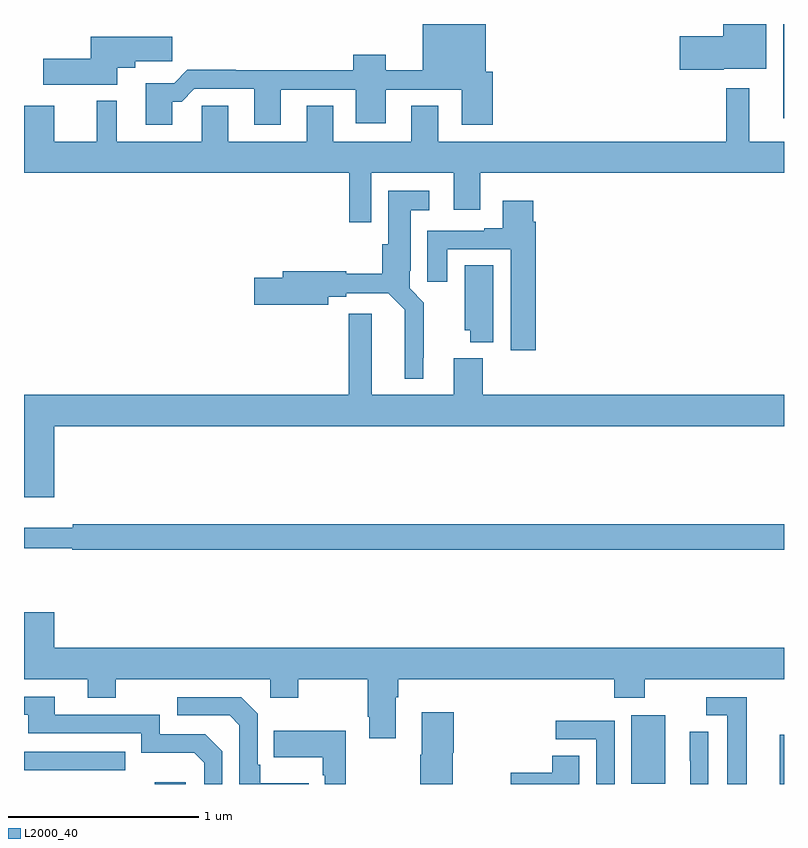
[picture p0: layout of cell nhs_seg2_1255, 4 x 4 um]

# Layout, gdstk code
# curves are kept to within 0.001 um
import gdstk
lib = gdstk.Library(unit=1e-6, precision=1e-09)
def R(c, l, rs):  # rectangles x0, y0, x1, y1
    for r in rs: c.add(gdstk.rectangle(r[:2], r[2:], *l))
def P(c, l, *ps):  # polygons
    for p in ps: c.add(gdstk.Polygon(p, *l))
L2000_40 = (2000, 40)

nhs_seg2_1255 = lib.new_cell('nhs_seg2_1255')
R(nhs_seg2_1255, L2000_40, [(177.689,597.8,177.85,597.808), (180.977,597.8,181,598.059), (180.197,597.801,180.376,598.162), (177,597.873,177.533,597.969), (180.995,601.305,181,601.8)])
P(nhs_seg2_1255, L2000_40, [(180.684,601.565),(180.907,601.565),(180.907,601.8),(180.68,601.8),(180.68,601.736),(180.45,601.736),(180.45,601.558),(180.684,601.558)],
  [(177.781,601.391),(177.83,601.391),(177.897,601.458),(178.211,601.458),(178.211,601.269),(178.351,601.269),(178.351,601.455),(178.745,601.455),(178.745,601.277),(178.903,601.277),(178.903,601.455),(179.303,601.455),(179.303,601.269),(179.468,601.269),(179.468,601.548),(179.431,601.548),(179.431,601.8),(179.099,601.8),(179.099,601.556),(178.903,601.556),(178.903,601.639),(178.733,601.639),(178.733,601.556),(178.115,601.556),(178.115,601.559),(177.86,601.559),(177.79,601.489),(177.641,601.489),(177.641,601.269),(177.781,601.269)],
  [(177.49,601.571),(177.586,601.571),(177.586,601.603),(177.781,601.603),(177.781,601.732),(177.35,601.732),(177.35,601.616),(177.102,601.616),(177.102,601.481),(177.49,601.481)],
  [(178.827,601.016),(179.261,601.016),(179.261,600.822),(179.401,600.822),(179.401,601.016),(181,601.016),(181,601.18),(180.817,601.18),(180.817,601.462),(180.696,601.462),(180.696,601.18),(179.179,601.18),(179.179,601.37),(179.039,601.37),(179.039,601.18),(178.627,601.18),(178.627,601.37),(178.487,601.37),(178.487,601.18),(178.075,601.18),(178.075,601.37),(177.936,601.37),(177.936,601.18),(177.487,601.18),(177.487,601.396),(177.383,601.396),(177.383,601.18),(177.16,601.18),(177.16,601.369),(177,601.369),(177,601.016),(178.711,601.016),(178.711,600.756),(178.827,600.756)],
  [(179.101,600.043),(179.105,600.043),(179.105,600.334),(179.031,600.408),(179.031,600.502),(179.035,600.502),(179.035,600.821),(179.134,600.821),(179.134,600.922),(178.916,600.922),(178.916,600.642),(178.886,600.642),(178.886,600.485),(178.696,600.485),(178.696,600.5),(178.361,600.5),(178.361,600.464),(178.212,600.464),(178.212,600.322),(178.6,600.322),(178.6,600.364),(178.696,600.364),(178.696,600.384),(178.916,600.384),(179.004,600.296),(179.003,599.933),(179.101,599.933)],
  [(179.693,600.758),(179.68,600.758),(179.68,600.871),(179.519,600.871),(179.519,600.724),(179.423,600.724),(179.423,600.711),(179.123,600.711),(179.123,600.444),(179.227,600.444),(179.227,600.615),(179.561,600.615),(179.561,600.084),(179.693,600.084)],
  [(179.47,600.53),(179.321,600.53),(179.321,600.189),(179.348,600.189),(179.348,600.125),(179.47,600.125)],
  [(177.16,599.684),(181,599.684),(181,599.848),(179.414,599.848),(179.414,600.04),(179.261,600.04),(179.261,599.848),(178.831,599.848),(178.831,600.274),(178.709,600.274),(178.709,599.848),(177,599.848),(177,599.31),(177.16,599.31)],
  [(181,599.168),(177.256,599.168),(177.256,599.149),(177,599.149),(177,599.04),(177.254,599.04),(177.254,599.032),(181,599.032)],
  [(177.16,598.705),(177,598.705),(177,598.352),(177.335,598.352),(177.335,598.253),(177.483,598.253),(177.483,598.352),(178.296,598.352),(178.296,598.253),(178.443,598.253),(178.443,598.352),(178.81,598.352),(178.81,598.153),(178.817,598.153),(178.817,598.041),(178.957,598.041),(178.957,598.256),(178.97,598.256),(178.97,598.352),(180.107,598.352),(180.107,598.253),(180.267,598.253),(180.267,598.352),(181,598.352),(181,598.516),(177.16,598.516)],
  [(178.044,597.972),(177.954,598.062),(177.714,598.062),(177.714,598.164),(177.163,598.164),(177.163,598.26),(177,598.26),(177,598.164),(177.023,598.164),(177.023,598.068),(177.618,598.068),(177.618,597.965),(177.895,597.965),(177.948,597.912),(177.948,597.8),(178.044,597.8)],
  [(180.805,598.257),(180.591,598.257),(180.591,598.161),(180.701,598.161),(180.701,597.8),(180.805,597.8)],
  [(178.499,597.805),(178.243,597.805),(178.243,597.901),(178.23,597.901),(178.23,598.17),(178.143,598.257),(177.807,598.257),(177.807,598.161),(178.083,598.161),(178.134,598.11),(178.134,597.8),(178.499,597.8)],
  [(179.256,597.964),(179.261,597.964),(179.261,598.177),(179.093,598.177),(179.093,597.953),(179.086,597.953),(179.086,597.8),(179.256,597.8)],
  [(180.108,598.134),(179.799,598.134),(179.799,598.035),(180.012,598.035),(180.012,597.8),(180.108,597.8)],
  [(178.693,598.081),(178.315,598.081),(178.315,597.941),(178.572,597.941),(178.572,597.845),(178.584,597.845),(178.584,597.8),(178.693,597.8)],
  [(180.6,598.076),(180.504,598.076),(180.504,597.922),(180.506,597.922),(180.506,597.8),(180.6,597.8)],
  [(179.923,597.95),(179.78,597.95),(179.78,597.86),(179.562,597.86),(179.562,597.8),(179.923,597.8)])

lib.write_gds('nhs_seg2_1255.gds')
